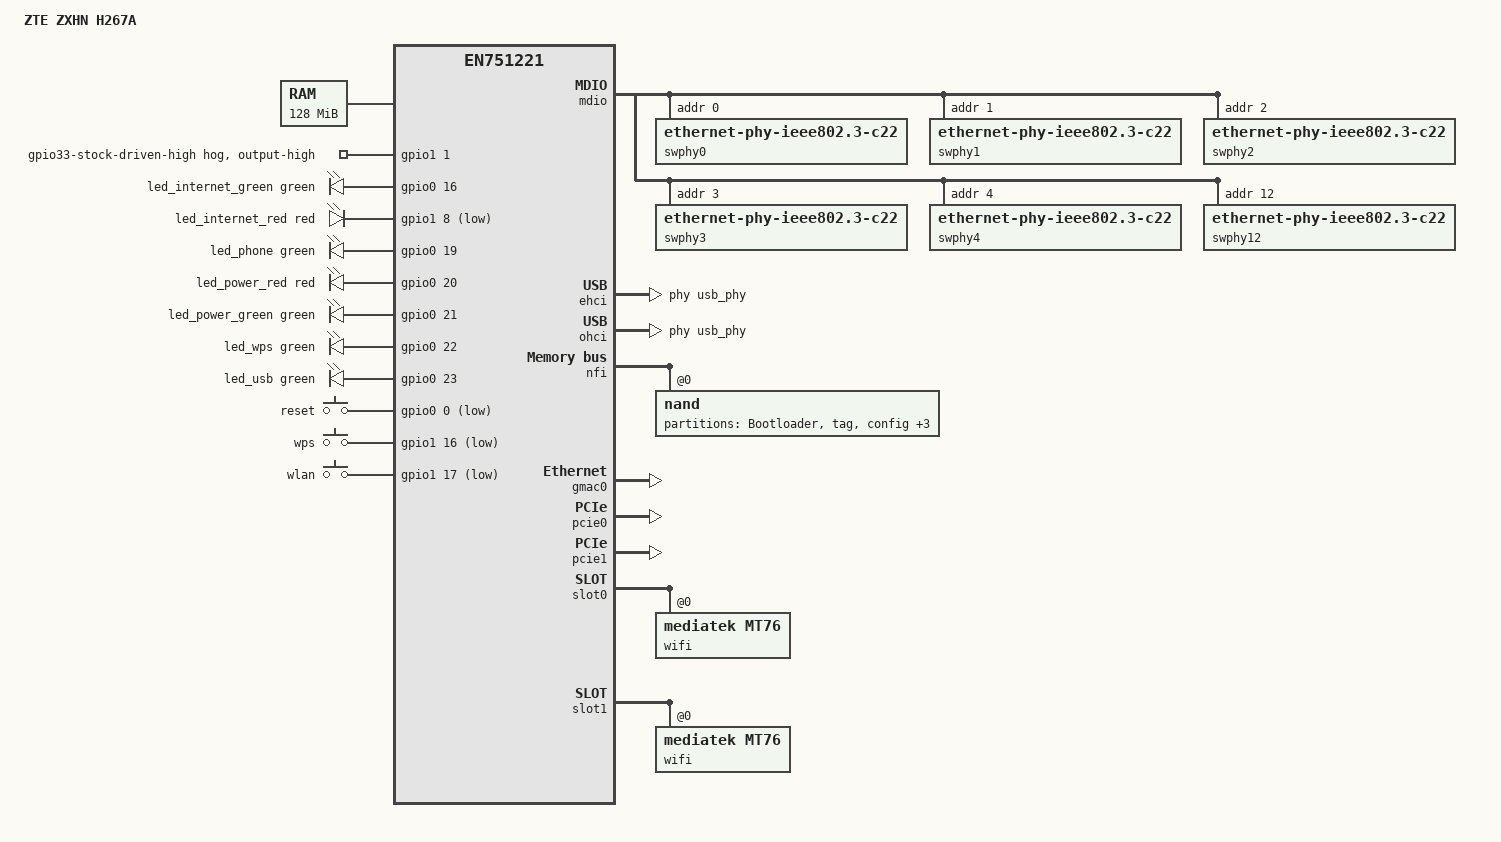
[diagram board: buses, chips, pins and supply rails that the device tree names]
// SPDX-License-Identifier: GPL-2.0
/*
 * ZTE ZXHN H267A -- EcoNet EN751221 (MIPS 34Kc), 128 MB RAM, 128 MiB parallel
 * NAND, four LAN jacks and one WAN jack behind two cascaded switch chips, two
 * PCIe WiFi radios (MT7592N 2.4 GHz, MT7612EN 5 GHz), nine front-panel LEDs,
 * three buttons and a single USB 2.0 host jack.
 *
 * Two facts differ from the stock en751221_generic image: 128 MB of RAM and a
 * 266.667 MHz high-precision timer.
 */

/dts-v1/;

#include <dt-bindings/gpio/gpio.h>
#include <dt-bindings/input/input.h>
#include <dt-bindings/leds/common.h>
#include <dt-bindings/phy/phy.h>

#include "en751221.dtsi"

/ {
	model = "ZTE ZXHN H267A";
	compatible = "zte,zxhn-h267a", "econet,en751221";

	memory@0 {
		device_type = "memory";
		reg = <0x00000000 0x08000000>;	/* Memory size 128MB */
	};

	chosen {
		stdout-path = "/serial@1fbf0000:115200";
		/*
		 * Inert on this platform (an arm64 kexec/crashkernel mechanism;
		 * MIPS never consults it), kept only to document actual RAM size.
		 */
		linux,usable-memory-range = <0x00020000 0x07fe0000>;
		/*
		 * root    -> read-only squashfs on "rootfs_ro" (mtdblock3), named
		 *            explicitly since no partition is called "rootfs"
		 *            (avoids OpenWrt's MTD_ROOTFS_ROOT_DEV/mtdsplit).
		 * overlay -> ubifs on the "rootfs_data" volume of ubi.mtd=ubi,
		 *            used instead of jffs2 because jffs2's OOB-only
		 *            cleanmarker doesn't fit this controller's ECC layout
		 *            (logged harmless "UnCorrectable" every boot).
		 * Ignored by the RAM-boot initramfs image.
		 */
		bootargs = "console=ttyS0,115200 root=/dev/mtdblock3 rootfstype=squashfs ro ubi.mtd=ubi";
	};
};

/* Measured HPT = 266.667 MHz; the shared dtsi declares 200 MHz. Without this
 * override timekeeping/delays run 4/3 fast. */
&hpt_clock {
	clock-frequency = <266666667>;
};

/* Explicit #address-cells so dtc doesn't warn on the PCIe interrupt-maps
 * below referencing &intc.
 *
 * econet,cpu-interrupt-map routes the two software-interrupt lines (7, 8)
 * to each VPE's IPI dispatcher (0 = VPE0, 1 = VPE1), needed by the dual-VPE
 * SMVP support (irq-econet-en751221.c's econet_cpu_init()). Not yet in the
 * shared en751221.dtsi.
 */
&intc {
	#address-cells = <0>;
	econet,cpu-interrupt-map = <7 0>, <8 1>;
};

&gmac0 {
	status = "okay";
	/* Real MAC from the ZTE TAGH pool in the tag partition, offset 0x14.
	 * Requires the parallel-NAND driver; without it the airoha driver
	 * falls back to eth_hw_addr_random(). */
	nvmem-cells = <&macaddr_base 0>;
	nvmem-cell-names = "mac-address";
};

/*
 * The shared dtsi's `switch0` node models an MDIO-attached switch (wrong
 * binding here: econet_eth.c has no MDIO bus master, so nothing ever scans
 * it). The real switch is MMIO-mapped at 0x1fb58000, reached by mainline's
 * mt7530-mmio driver via `compatible = "airoha,en7581-switch"` (node
 * below). Disable the broken node; `&ethernet`'s reg shrink below is what
 * lets the real one attach (en75_probe()'s runtime `has_switch_regs` check
 * reads that resource size).
 */
&switch0 {
	status = "disabled";
};

/*
 * `ethernet`'s dtsi `reg` (0x1fb50000, 0x10000) overlaps the switch
 * register window the new `switch` node below also needs, and both
 * drivers reserve their `reg` on probe, so the second prober would get
 * -EBUSY. Shrink to just the fe/qdma range. Also drop "gsw" from the
 * resets this node deasserts -- the switch node claims it instead, and
 * reset_control_get_exclusive() would -EBUSY on a double claim.
 */
 &ethernet {
	reg = <0x1fb50000 0x8000>;
	/* Exclude FE_RST (wipes the bootloader's FE/MAC config) and GSW_RST
	 * (claimed by the switch node) from the dtsi's reset list.
	 * FE_QDMA1_RST is kept: the driver pulses it at probe. */
	resets = <&scuclk EN751221_FE_QDMA1_RST>,
		 <&scuclk EN751221_FE_QDMA2_RST>,
		 <&scuclk EN751221_XPON_MAC_RST>,
		 <&scuclk EN751221_XPON_PHY_RST>;
	reset-names = "qdma0", "qdma1", "xpon-mac", "xpon-phy";
 };

/*
 * Real switch node: MMIO-mapped MT7530-family switch at 0x1fb58000, freed
 * up by the `ethernet` shrink above.
 */
/ {
 	switch: switch@1fb58000 {
 		compatible = "airoha,en7581-switch";
 		reg = <0x1fb58000 0x8000>;
 		resets = <&scuclk EN751221_GSW_RST>;
 		/* Claim the GSW clock so clk_disable_unused() doesn't gate it
 		 * during boot -- the TRGMII PLL depends on it, and it would
 		 * otherwise be gated before econet_eth/mt7530 even probe. */
 		clocks = <&scuclk EN751221_CLK_GSW>;
 		clock-names = "gsw";

		ports {
			#address-cells = <1>;
			#size-cells = <0>;

			/*
			 * Two user ports.
			 *
			 * port@4 "wan": the WAN jack, bypassing the external
			 * MT7530BU -- wires to the MCM's own port 4, behind its
			 * own GE PHY at MDIO address 12. Confirmed with a live
			 * port sweep: a cable in WAN brings up only phy12.
			 *
			 * port@5 "lan": the MCM's TRGMII uplink to the external
			 * MT7530BU the four LAN jacks are wired to. Ports 0-3 of
			 * this MCM switch are unwired, so frames from the EXT
			 * chip must be attributed to source port 5 here, not
			 * treated as individual MCM ports (confirmed live: frames
			 * cross EXT -> MCM P5 and count at P5's RX MIB).
			 *
			 * The EXT chip is a dumb port extender from the host's
			 * view -- its fabric floods everything over the TRGMII,
			 * so one netdev covers LAN1-4. Per-jack netdevs would
			 * need driving the EXT as its own DSA switch, not done.
			 */
			port@4 {
				reg = <4>;
				label = "wan";
				phy-mode = "internal";
				phy-handle = <&swphy12>;
			};

			port@5 {
				reg = <5>;
				label = "lan";
				phy-mode = "trgmii";

				fixed-link {
					speed = <1000>;
					full-duplex;
				};
			};

			port@6 {
				reg = <6>;
				label = "cpu";
				ethernet = <&gmac0>;
				phy-mode = "trgmii";

				fixed-link {
					speed = <1000>;
					full-duplex;
				};
			};
		};

		mdio {
			#address-cells = <1>;
			#size-cells = <0>;

			/* The MT7530BU's internal PHYs are at MDIO addresses 0-4
			 * (GE-capable, BMSR=0x7949), not 8-12 (FE-only). Confirmed
			 * via the bootloader's own miir. */
			swphy0: ethernet-phy@0 {
				compatible = "ethernet-phy-ieee802.3-c22";
				reg = <0>;
				phy-mode = "internal";
			};

			swphy1: ethernet-phy@1 {
				compatible = "ethernet-phy-ieee802.3-c22";
				reg = <1>;
				phy-mode = "internal";
			};

			swphy2: ethernet-phy@2 {
				compatible = "ethernet-phy-ieee802.3-c22";
				reg = <2>;
				phy-mode = "internal";
			};

			swphy3: ethernet-phy@3 {
				compatible = "ethernet-phy-ieee802.3-c22";
				reg = <3>;
				phy-mode = "internal";
			};

			swphy4: ethernet-phy@4 {
				compatible = "ethernet-phy-ieee802.3-c22";
				reg = <4>;
				phy-mode = "internal";
			};

			/* The WAN jack's own PHY, MII-wired to MCM port 4
			 * (referenced by port@4 above): GE-capable, a different
			 * model (ID2 0x9421) from the EXT block's 0x9412. */
			swphy12: ethernet-phy@c {
				compatible = "ethernet-phy-ieee802.3-c22";
				reg = <12>;
				phy-mode = "internal";
			};
		};
	};
};

/*
 * GPIO controller. en751221.dtsi ships no GPIO node, so Linux can't reach
 * any SoC GPIO without one -- needed for the front-panel LEDs and buttons.
 * Register layout copied from the sibling en7528.dtsi/en751627.dtsi (same
 * airoha,en7523-gpio block, same offsets). Two nodes because the driver's
 * AIROHA_GPIO_MAX=32 caps each instance to one 32-pin bank. Belongs in the
 * shared dtsi eventually, kept here for now like &pcie0/&pcie1 below.
 */
/ {
	gpio0: gpio@1fbf0200 {
		compatible = "airoha,en7523-gpio";
		reg = <0x1fbf0204 0x4>, /* CR_GPIO_DATA, gpios 0-31 */
		      <0x1fbf0200 0x4>, /* CR_GPIO_CTRL, gpios 0-15 */
		      <0x1fbf0220 0x4>, /* CR_GPIO_CTRL1, gpios 16-31 */
		      <0x1fbf0214 0x4>; /* CR_GPIO_ODRAIN, gpios 0-31 */
		gpio-controller;
		#gpio-cells = <2>;
	};

	gpio1: gpio@1fbf0270 {
		compatible = "airoha,en7523-gpio";
		reg = <0x1fbf0270 0x4>, /* CR_GPIO_DATA1, gpios 32-63 */
		      <0x1fbf0260 0x4>, /* CR_GPIO_CTRL2, gpios 32-47 */
		      <0x1fbf0264 0x4>, /* CR_GPIO_CTRL3, gpios 48-63 */
		      <0x1fbf0278 0x4>; /* CR_GPIO_ODRAIN1, gpios 32-63 */
		gpio-controller;
		#gpio-cells = <2>;

		/*
		 * GPIO 33 (bank-1 line 1): stock drives this pin as an output
		 * HIGH; OpenWrt otherwise leaves it a floating input. Function
		 * unestablished (toggling it live showed no RX effect), but
		 * hogged to match stock's known-good state as a safe default.
		 * GPIO 47 hard-wedges the SoC when driven as an output -- do
		 * not hog the adjacent 46 without deliberate testing.
		 */
		wifi_fe_enable_hog {
			gpio-hog;
			gpios = <1 GPIO_ACTIVE_HIGH>;
			output-high;
			line-name = "gpio33-stock-driven-high";
		};
	};

	/*
	 * Front-panel LEDs, pin-mapped empirically by sweeping every SoC GPIO
	 * 0-63 and watching the panel (the EcoNet wiki's per-pin table doesn't
	 * match this board). Internet/Power are bicolour; all active-high
	 * except internet-red (see its node).
	 *
	 * The Internet pair is driven from userspace by
	 * /sbin/h267a-internet-led: steady green = reachable, steady red =
	 * WAN carrier but unreachable, off = no carrier.
	 *
	 * Not on SoC GPIO, need nothing here: Broadband/WAN jack LEDs are
	 * hardware-autonomous on the switch/PHY side; WiFi 2.4G/5G LEDs are
	 * the radio chips' own controllers (`led` child nodes on
	 * &slot0/&slot1, needs CONFIG_MT76_LEDS).
	 *
	 * GPIO 47 is excluded deliberately: driving it as an output
	 * hard-hangs the SoC (reproduced twice, recovers only via power
	 * cycle). Never drive it live without new instrumentation.
	 */
	leds {
		compatible = "gpio-leds";

		led_internet_green: internet-green {
			function = LED_FUNCTION_WAN_ONLINE;
			color = <LED_COLOR_ID_GREEN>;
			gpios = <&gpio0 16 GPIO_ACTIVE_HIGH>;
		};

		led_internet_red: internet-red {
			function = LED_FUNCTION_WAN_ONLINE;
			color = <LED_COLOR_ID_RED>;
			/* ACTIVE_LOW, unlike every other LED here -- verified
			 * live: brightness=0 under ACTIVE_HIGH left it visibly
			 * lit. No other polarity mismatch observed. */
			gpios = <&gpio1 8 GPIO_ACTIVE_LOW>;
		};

		led_phone: phone {
			function = "phone";
			color = <LED_COLOR_ID_GREEN>;
			gpios = <&gpio0 19 GPIO_ACTIVE_HIGH>;
		};

		led_power_red: power-red {
			function = LED_FUNCTION_POWER;
			color = <LED_COLOR_ID_RED>;
			gpios = <&gpio0 20 GPIO_ACTIVE_HIGH>;
		};

		led_power_green: power-green {
			function = LED_FUNCTION_POWER;
			color = <LED_COLOR_ID_GREEN>;
			default-state = "on";
			gpios = <&gpio0 21 GPIO_ACTIVE_HIGH>;
		};

		led_wps: wps {
			function = LED_FUNCTION_WPS;
			color = <LED_COLOR_ID_GREEN>;
			gpios = <&gpio0 22 GPIO_ACTIVE_HIGH>;
		};

		led_usb: usb {
			function = LED_FUNCTION_USB;
			color = <LED_COLOR_ID_GREEN>;
			gpios = <&gpio0 23 GPIO_ACTIVE_HIGH>;
			/*
			 * Wired to the kernel's own "usbport" trigger (matching
			 * sibling boards) rather than a custom script: on as long
			 * as any device is attached. Sources are the EHCI and
			 * OHCI port nodes (not the unused xHCI, see below); OHCI
			 * matters since EHCI hands Full-/Low-Speed devices off to
			 * it. Both controllers' root hubs have two ports, but only
			 * one is wired to the physical jack -- listing all four
			 * costs nothing and avoids depending on which one it is.
			 */
			linux,default-trigger = "usbport";
			trigger-sources = <&ehci_port1 &ehci_port2
					   &ohci_port1 &ohci_port2>;
		};
	};

	/*
	 * Three physical buttons (reset/WPS/WLAN), all on the main SoC GPIO
	 * and active-low -- not on the WiFi-chip GPIO block an old
	 * third-party wiki claimed (disproven live). gpio-keys-polled
	 * matches sibling boards: this GPIO controller has no interrupt
	 * support. kmod-gpio-button-hotplug (already in the image) then
	 * wires these to /etc/rc.button/{reset,wps,wifi}.
	 */
	keys {
		compatible = "gpio-keys-polled";
		poll-interval = <100>;

		key-reset {
			label = "reset";
			gpios = <&gpio0 0 GPIO_ACTIVE_LOW>;
			linux,code = <KEY_RESTART>;
		};

		key-wps {
			label = "wps";
			gpios = <&gpio1 16 GPIO_ACTIVE_LOW>;
			linux,code = <KEY_WPS_BUTTON>;
		};

		key-wlan {
			label = "wlan";
			gpios = <&gpio1 17 GPIO_ACTIVE_LOW>;
			linux,code = <KEY_RFKILL>;
		};
	};
};

/*
 * USB: use the vendor-proven legacy EHCI/OHCI host blocks (0x1fbb0000 /
 * 0x1fba0000, vendor IRQ 18 = INTC hwirq 17), not the SSUSB xHCI the shared
 * dtsi describes at usb@1fb90000.
 *
 * The xHCI is dead silicon on this DSL-variant chip (EN7512/MT7510
 * family): its MAC reads 0x00000000, the MediaTek IPPC power-on region it
 * needs doesn't respond, no clock/reset gate is missing, and replaying the
 * vendor's own PHY bring-up sequence via devmem changed nothing. So it's
 * disabled here and the board uses generic-ehci/generic-ohci below, fed by
 * a real USB PHY provider -- matching what stock runs. All USB-facing
 * packages (storage/modem/LED trigger) are host-driver-agnostic.
 */
&usb {
	status = "disabled";
};

/ {
	/*
	 * USB 2.0 PHY "top" bank (MT7510 layout), driven by the shared
	 * EcoNet USB PHY driver ("econet,en751221-usb-phy") running the
	 * vendor's usb_mt751020_phy_init() bring-up sequence.
	 *
	 * Must be a real PHY provider, not bring-up inlined into EHCI probe:
	 * the vendor runs this sequence once, before any host controller
	 * (usb_init()), and the OHCI companion below wedges the SoC if
	 * touched before the PHY is up. A PHY provider brings the PHY up
	 * before either controller's first register access, refcounted so
	 * it only runs once for both.
	 */
	usb_phy: usb-phy@1faf1800 {
		compatible = "econet,en751221-usb-phy";
		reg = <0x1faf1800 0x800>;
		#phy-cells = <1>;
	};

	/*
	 * Port child nodes exist so the ledtrig-usbport trigger can match
	 * ports (it only finds ports with DT children; without them the USB
	 * LED never lights).
	 */
	ehci: usb@1fbb0000 {
		compatible = "generic-ehci";
		reg = <0x1fbb0000 0x10000>;
		interrupt-parent = <&intc>;
		interrupts = <17>;
		phys = <&usb_phy PHY_TYPE_USB2>;
		phy-names = "usb";
		#address-cells = <1>;
		#size-cells = <0>;

		/* #trigger-source-cells = <0> is required on any node a
		 * ledtrig-usbport trigger-sources list references, or the LED
		 * stays dark with no error. */
		ehci_port1: port@1 {
			reg = <1>;
			#trigger-source-cells = <0>;
		};

		ehci_port2: port@2 {
			reg = <2>;
			#trigger-source-cells = <0>;
		};
	};

	/*
	 * OHCI: the USB 1.1 companion the EHCI above hands Full-/Low-Speed
	 * devices off to (printers, USB-serial, keyboards).
	 *
	 * WARNING: enabling this node before the PHY bring-up above exists
	 * wedges the SoC -- an uninitialised PHY leaves this block unclocked
	 * and its first register read stalls the bus forever, with no
	 * mainline IRQ to recover through. With the PHY provider bringing
	 * the PHY up first, it reads back normal OHCI 1.1 reset defaults.
	 * Stock runs this controller too.
	 */
	ohci: usb@1fba0000 {
		compatible = "generic-ohci";
		reg = <0x1fba0000 0x10000>;
		interrupt-parent = <&intc>;
		interrupts = <17>;
		phys = <&usb_phy PHY_TYPE_USB2>;
		phy-names = "usb";
		#address-cells = <1>;
		#size-cells = <0>;

		ohci_port1: port@1 {
			reg = <1>;
			#trigger-source-cells = <0>;
		};

		ohci_port2: port@2 {
			reg = <2>;
			#trigger-source-cells = <0>;
		};
	};
};

/*
 * PCIe: two root complexes, each carrying one WiFi radio (MT7592N 2.4G on
 * RC0, MT7612EN 5G on RC1). The shared dtsi ships both disabled, defaulting
 * to the newer "V2" register model (econet,en7528-pcie); this chip uses
 * the older "V1" model, so override compatible to econet,en751221-pcie
 * (matching driver patch required). Also corrects pcie0's base: the dtsi's
 * 0x1fb81000 is a config-window-only block, RC0's real per-port block is
 * at 0x1fb82000. Both overrides belong in the shared dtsi eventually.
 */
&pcie0 {
	compatible = "econet,en751221-pcie";
	reg = <0x1fb82000 0x1000>;
	status = "okay";

	/* Radio interrupts: this chip has no per-RC INTx status/mask/ack
	 * registers -- each root complex forwards its endpoint's INTx
	 * straight to a dedicated SoC INTC line, so point the interrupt-map
	 * directly at &intc rather than the dtsi's en7528-style chained
	 * handler (dead on this chip).
	 *
	 * RC0 -> INTC 24, measured on hardware: acking MT7592's
	 * MT_INT_SOURCE_CSR cleared this bit at the same instant as RC0's
	 * own status bit. (RC1/MT7612 maps to INTC 23, never 24 or 25 --
	 * the vendor kernel alone suggests 25, which is wrong.) */
	interrupt-map = <0 0 0 1 &intc 24>,
			<0 0 0 2 &intc 24>,
			<0 0 0 3 &intc 24>,
			<0 0 0 4 &intc 24>;
};

&pcie1 {
	compatible = "econet,en751221-pcie";
	/* Root its bus at 1 so its secondary becomes 2, matching the
	 * physical bus the RC1 endpoint (MT7612) is wired to -- the config
	 * window forwards through the root port's bus-number register, so
	 * logical must equal physical. pcie0 stays <0x00 0xff>. */
	bus-range = <0x01 0xff>;
	status = "okay";

	/* RC1's endpoint INTx -> INTC 23, measured (see &pcie0 note above). */
	interrupt-map = <0 0 0 1 &intc 23>,
			<0 0 0 2 &intc 23>,
			<0 0 0 3 &intc 23>,
			<0 0 0 4 &intc 23>;
};

/*
 * WiFi radios: mediatek,mt76 binding, EEPROM and real MAC from the
 * tag-partition nvmem cells above. MT7592N (2.4 GHz) on RC0 binds to
 * mainline's mt7603e as-is; MT7612EN (5 GHz) on RC1 binds to mt76x2e.
 * Both use INTx (see the &pcie0/&pcie1 interrupt-maps above); neither
 * uses MSI, so the SoC's MTK_PCIE_NO_MSI quirk is harmless.
 */
&slot0 {
	wifi@0,0 {
		/* MT7592N (2.4G) */
		compatible = "mediatek,mt76";
		reg = <0x0000 0 0 0 0>;
		/* base+0 -- the same MAC as gmac0/LAN, not a dedicated pool
		 * slot. Verified against real stock. */
		nvmem-cells = <&eeprom_mt7592>, <&macaddr_base 0>;
		nvmem-cell-names = "eeprom", "mac-address";

		/*
		 * Front-panel 2.4 GHz WiFi LED, mapped on real hardware:
		 * this chip's own LED controller, lane 0, active-low (without
		 * the polarity bit it sits lit under mt76's own brightness-0
		 * encoding). mt76_led_init() reads this as a child node named
		 * "led"; CONFIG_MT76_LEDS is already compiled in.
		 */
		led {
			led-sources = <0>;
			led-active-low;
		};
	};
};

&slot1 {
	/*
	 * Override the dtsi's `reg = <0x0800 0 0 0 0>` (devfn 8), which
	 * assumes the en7528 model where both root ports share one root bus
	 * at devfn 0 and 8. Here each root complex is its own PCI domain,
	 * and RC1's root port enumerates at devfn 0 of bus 1 -- so the dtsi
	 * node never matched and its subtree (wifi@0,0 + nvmem-cells) was
	 * never attached to any device. Proven on hardware: mt76x2e got no
	 * EEPROM/MAC from nvmem until this was fixed, falling back to
	 * on-chip efuse and a random MAC.
	 *
	 * phys.hi encodes bus 1 to agree with this port's
	 * `bus-range = <0x01 0xff>`. The remaining "unit address format
	 * error" warning is cosmetic (an overlay reference can't rename the
	 * dtsi's `pcie@1,0` node name).
	 */
	reg = <0x00010000 0 0 0 0>;

	wifi@0,0 {
		/* MT7612EN (5G) */
		compatible = "mediatek,mt76";
		reg = <0x0000 0 0 0 0>;
		/* base+1, verified against real stock. */
		nvmem-cells = <&eeprom_mt7612>, <&macaddr_base 1>;
		nvmem-cell-names = "eeprom", "mac-address";

		/* Front-panel 5G WiFi LED -- same story as the 2.4G one above,
		 * but lane 2, not lane 0. Also active-low. */
		led {
			led-sources = <2>;
			led-active-low;
		};
	};
};

/* Our flash is PARALLEL NAND (Macronix MX30LF1G18AC), not SPI-NAND. The shared
 * dtsi enables the SPI-NAND controller by default; on our board there's no
 * SPI-NAND chip, so spinand_probe() blocks init forever in a SPI transfer
 * (RCU stall at ~60s). Disable it — the parallel NFI below drives our flash. */
&spi_ctrl {
	status = "disabled";
};

/*
 * Parallel NAND on the MediaTek NFI controller at 0x1fbe0000 (ECC block
 * +0x1000), reverse-engineered from the vendor's dump_nfi() -- every
 * offset matches mainline mtk_nand.c/ecc-mtk.c.
 *
 * Macronix MX30LF1G18AC: page 2048 / OOB 64, HW-ECC strength 4 over
 * 512-byte sectors, BCH m=13 (recovered from the ECC_Config disasm). Uses
 * mt2701-nfc caps plus a custom econet,en751221-ecc caps (parity_bits 13,
 * where mt2701 itself uses 14).
 *
 * IRQ 26 (vendor enable_irq(26) + mt6573_nand_irq_handler reading
 * NFI_INTR_STA). The vendor polls the ECC engine rather than using a
 * second IRQ, so the ecc node is left interrupt-less; ecc-mtk polls
 * ECC_DECDONE instead.
 *
 * No dedicated NFI clock on this SCU; nfi_clk/pad_clk point at the SCU bus
 * clock (already enabled by the bootloader) for ACCCON timing calc only.
 */
/ {
	nfiecc: ecc@1fbe1000 {
		compatible = "econet,en751221-ecc";
		reg = <0x1fbe1000 0x1000>;
		clocks = <&scuclk EN751221_CLK_BUS>;
		clock-names = "nfiecc_clk";
		/* no "interrupts": ecc-mtk falls back to polling */
	};

	nfi: nand-controller@1fbe0000 {
		compatible = "mediatek,mt2701-nfc";
		reg = <0x1fbe0000 0x1000>;
		interrupt-parent = <&intc>;
		interrupts = <26>;
		clocks = <&scuclk EN751221_CLK_BUS>,
			 <&scuclk EN751221_CLK_BUS>;
		clock-names = "nfi_clk", "pad_clk";
		ecc-engine = <&nfiecc>;
		#address-cells = <1>;
		#size-cells = <0>;

		nand@0 {
			reg = <0>;
			nand-ecc-engine = <&nfiecc>;
			nand-ecc-mode = "hw";
			nand-ecc-strength = <4>;
			nand-ecc-step-size = <512>;

			partitions {
				compatible = "fixed-partitions";
				#address-cells = <1>;
				#size-cells = <1>;

				partition@0 {
					label = "Bootloader";
					reg = <0x0000000 0x0040000>;
					read-only;
				};
				partition@40000 {
					label = "tag";
					reg = <0x0040000 0x0040000>;
					read-only;

					/* ZTE TAGH MAC pool and WiFi calibration EEPROMs.
					 * MAC pool: 4 consecutive MACs from 0x14 --
					 * verified against a root shell on real stock:
					 * gmac0 (LAN+WAN) and WiFi 2.4 GHz both use
					 * base+0, WiFi 5 GHz uses base+1; base+2/3
					 * unused. EEPROM blobs: 0x3c000 (MT7592) and
					 * 0x3e000 (MT7612); their template MAC fields
					 * are NOT the real MACs. */
					nvmem-layout {
						compatible = "fixed-layout";
						#address-cells = <1>;
						#size-cells = <1>;

						macaddr_base: macaddr@14 {
							compatible = "mac-base";
							reg = <0x14 0x6>;
							#nvmem-cell-cells = <1>;
						};

						eeprom_mt7592: eeprom@3c000 {
							/* 0x400, not 0x200: mt7603 requests
							 * MT7603_EEPROM_SIZE (1024 B) and hard-rejects
							 * a shorter nvmem cell (-EINVAL, no partial
							 * copy), silently discarding the real EEPROM.
							 * Bytes 0x200-0x400 are erased/0xff in flash --
							 * this only satisfies the length check. */
							reg = <0x3c000 0x400>;
						};

						eeprom_mt7612: eeprom@3e000 {
							reg = <0x3e000 0x200>;
						};
					};
				};
				/*
				 * config is read-only on purpose: OpenWrt never writes
				 * it, and marking it so guards against a stock-era
				 * mtd-erase command landing here (mtd numbering differs
				 * between stock and OpenWrt). Doesn't stop the
				 * bootloader itself: the recovery page's CSP writer
				 * erases from this partition's offset on every upload.
				 */
				partition@80000 {
					label = "config";
					reg = <0x0080000 0x0200000>;
					read-only;
				};
				/*
				 * The vendor's full 20 MiB "rootfs1" slot. UBI lives
				 * past kernel1 in its own partition instead of sharing
				 * this one.
				 *
				 * THE BOOTLOADER CRC-CHECKS THIS SLOT ON EVERY BOOT, not
				 * just at flash time (recovered by disassembly): it
				 * CRC32s hdr+0x7c bytes from the rootfs address against
				 * hdr+0x84, and refuses to boot on a mismatch
				 * ("-------------jffs crc error!"). A whole-partition
				 * UBI image here boots exactly once: UBI's own
				 * first-boot volume-table rewrite changes bytes inside
				 * the CRC'd range, and the next cold boot is dead.
				 *
				 * Deliberately no `read-only` here: the only writer is
				 * platform_do_upgrade() (base-files/lib/upgrade/
				 * platform.sh), which rewrites the kernel header's
				 * fslen/fscrc atomically with the new squashfs so the
				 * next boot's check passes. Protection past that is
				 * structural: the label is deliberately NOT "rootfs"
				 * (below), so nothing else in the tree writes here, and
				 * mtdpart.c's mtdsplit ROOTFS parser -- which would
				 * carve a jffs2 child out of the free tail -- never
				 * fires on it either.
				 */
				partition@280000 {
					label = "rootfs_ro";	/* squashfs; bootloader-CRC'd; platform_do_upgrade is the only writer */
					reg = <0x0280000 0x1400000>;
				};
				partition@1680000 {
					label = "kernel1";
					reg = <0x1680000 0x0400000>;
				};
				/*
				 * UBI, holding the single "rootfs_data" volume the
				 * overlay lives in. Sits past kernel1, absorbing what
				 * stock used for kernel2/rootfs2/scratch (91.25 MiB
				 * total).
				 *
				 * Only partially blank after a recovery-page flash: the
				 * CSP writer's erase covers just this partition's first
				 * 24 MiB, leaving the tail stale, which can make a
				 * plain attach fail instead of UBI's normal
				 * empty-device auto-format. /lib/preinit/
				 * 79_h267a_ubi_volume's ubiformat fallback handles
				 * that. No way to ship a pre-made UBI image here: the
				 * CSP upload path can only write the kernel and rootfs
				 * slots.
				 */
				partition@1a80000 {
					label = "ubi";
					reg = <0x1A80000 0x5B40000>;
				};
			};
		};
	};
};
